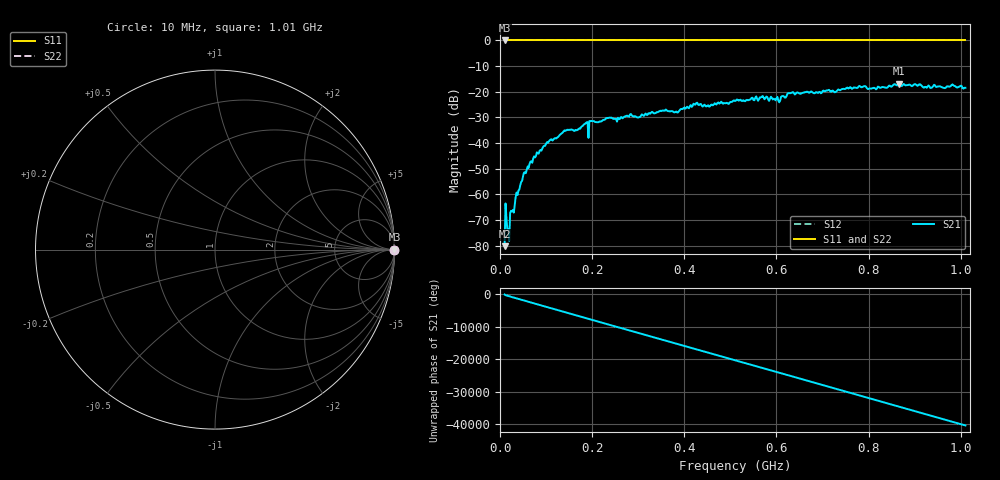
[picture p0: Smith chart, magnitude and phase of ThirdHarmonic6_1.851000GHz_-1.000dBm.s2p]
! 8/16/2025 10:23:55 PM
! C:\ANRITSUVNA\TEMP\TEMP.S2P
! CHANNEL.1
! TR.MEASUREMENT
! RAW.DATA
! RF.CORRECTION.OFF
! AVERAGING.OFF
! IF.BANDWIDTH: 5KHZ
! SWEEPTYPE:  FREQ.SWEEP(Linear)
! Reference Plane Port Info
! PORT:  PORT1  PORT2
! DISTANCE:  0  m  0  m
! TIME:  0  s  0  s
! PHASE.OFFSET:  0  deg.  0  deg.
! LOSS:  0  dB  0  dB
! REF.LOSS:  0  dB  0  dB
! REF.FREQ:  0  Hz  0  Hz
! Power Info
! POWER:  -20  dBm  -20  dBm
! EFF.POWER:  -20  dBm  -20  dBm
! SOURCE.ATTEN:  0  dB  0  dB
! TEST.ATTEN:  0  dB  0  dB
# GHZ S RI R 50.0
! FREQ.GHZ  S11RE  S11IM  S21RE  S21IM  S12RE  S12IM  S22RE  S22IM
!; PortSelection: Port_12
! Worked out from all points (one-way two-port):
!   501 points, 10 MHz to 1.01 GHz, reference 50 ohm
!   highest |S21| = -16.86 dB at 866 MHz (marker M1); lowest = -80.2 dB at 10 MHz (marker M2)
!   lowest |S11| = 0.0 dB at 10 MHz (marker M3)
!   |S11| at or under -10 dB: nowhere
!   |S22| runs from 0.0 to 0.0 dB; largest |S21 - S12| = 1.1
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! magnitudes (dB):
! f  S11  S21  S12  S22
! 10 MHz  0.0  -80.2  0.0  0.0
! 14 MHz  0.0  -69.4  0.0  0.0
! 20 MHz  0.0  -78.1  0.0  0.0
! 26 MHz  0.0  -66.6  0.0  0.0
! 50 MHz  0.0  -52.9  0.0  0.0
! 76 MHz  0.0  -45.6  0.0  0.0
! 106 MHz  0.0  -39.4  0.0  0.0
! 140 MHz  0.0  -35.1  0.0  0.0
! 178 MHz  0.0  -33.5  0.0  0.0
! 198 MHz  0.0  -31.4  0.0  0.0
! 344 MHz  0.0  -27.8  0.0  0.0
! 382 MHz  0.0  -27.7  0.0  0.0
! 424 MHz  0.0  -25.0  0.0  0.0
! 452 MHz  0.0  -25.3  0.0  0.0
! 510 MHz  0.0  -23.6  0.0  0.0
! 568 MHz  0.0  -22.0  0.0  0.0
! 604 MHz  0.0  -23.4  0.0  0.0
! 632 MHz  0.0  -20.5  0.0  0.0
! 678 MHz  0.0  -20.2  0.0  0.0
! 844 MHz  0.0  -17.6  0.0  0.0
! 866 MHz  0.0  -16.9  0.0  0.0
! 1.01 GHz  0.0  -18.4  0.0  0.0
